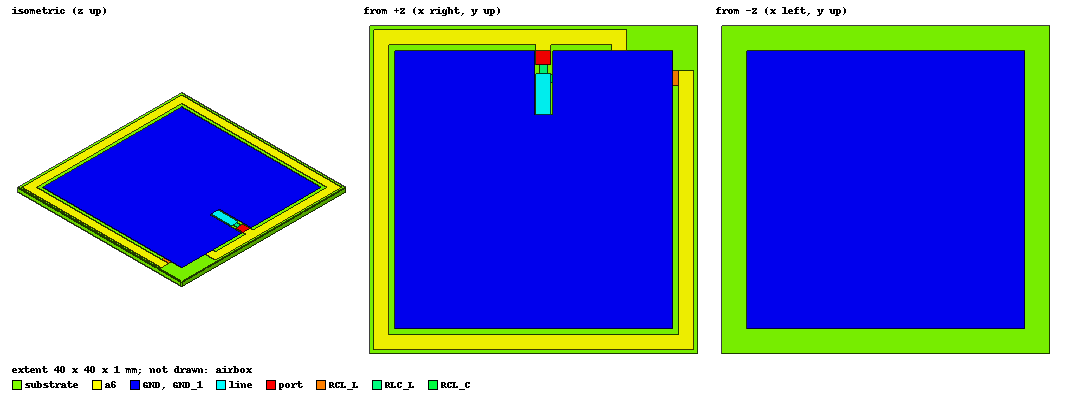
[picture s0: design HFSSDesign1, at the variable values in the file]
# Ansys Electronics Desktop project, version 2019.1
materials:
  vacuum: permittivity=1
  FR4_epoxy: permittivity=4.4 dielectric_loss_tangent=0.02
  copper: permeability=0.999991 conductivity=58000000
  air: permittivity=1.0006 permeability=1.0000004

design HFSSDesign1 (HFSS, DrivenTerminal, model units mm)
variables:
  sy = 40mm
  sx = 40mm
  l1 = 39mm
  w1 = 35.4mm
  l2 = 34mm
  l3 = 18mm
  l4 = 29mm
  w2 = 2.2mm
  w3 = 0.5mm
  l5 = 7.8mm
  len = 34mm
  w = 1.8mm
  lam = 200mm
  d = 3mm
  subh = 1mm
  l_line = 5mm
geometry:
  substrate [FR4_epoxy] = box(corner=(-l3-w-w3, d, 0mm), size=(sx, -sy, subh))
  GND = rectangle(corner=(-l3+d-w-w3, 0, subh), x_size=len, y_size=-len)
  GND_1 = GND.duplicate_along_line(step=(0mm, 0mm, -1mm), total=2)
  a1 = rectangle(corner=(0mm, 0mm, subh), x_size=w, y_size=d-w3-w)
  a3 = rectangle(corner=(-l3, d-w-w3, subh), x_size=l4, y_size=w)
  a2 = rectangle(corner=(l4-l3-w, 0mm, subh), x_size=w, y_size=d-w-w3)
  a4 = rectangle(corner=(-l3, d-w3, subh), x_size=-w, y_size=-l1)
  a5 = rectangle(corner=(-l3, -len-d+w3, subh), x_size=w1, y_size=w)
  a6 = rectangle(corner=(-l3+w1, -len-d+w3, subh), x_size=w, y_size=l2)
  RCL_L = rectangle(corner=(-l3+w1, l2-len-d+w3, subh), x_size=-d+w+w3, y_size=-w)
  a6.unite(a5, a4, a3, a2, a1)
  via [copper] = cylinder(axis=Z, base_centre=(-11mm, -3mm, 0mm), radius=0.5mm, height=subh)
  via_1 [copper] = via.duplicate_along_line(step=(9mm, 0mm, 0mm), total=2)
  via_2 [copper] = via.duplicate_along_line(step=(18mm, 0mm, 0mm), total=2)
  via_1_1 [copper] = via_1.duplicate_along_line(step=(18mm, 0mm, 0mm), total=2)
  via_3 [copper] = via.duplicate_along_line(step=(0mm, -7mm, 0mm), total=2)
  via_1_2 [copper] = via_1.duplicate_along_line(step=(0mm, -7mm, 0mm), total=2)
  via_2_1 [copper] = via_2.duplicate_along_line(step=(0mm, -7mm, 0mm), total=2)
  via_1_1_1 [copper] = via_1_1.duplicate_along_line(step=(0mm, -7mm, 0mm), total=2)
  via_4 [copper] = via.duplicate_along_line(step=(0mm, -16mm, 0mm), total=2)
  via_1_3 [copper] = via_1.duplicate_along_line(step=(0mm, -16mm, 0mm), total=2)
  via_2_2 [copper] = via_2.duplicate_along_line(step=(0mm, -16mm, 0mm), total=2)
  via_1_1_2 [copper] = via_1_1.duplicate_along_line(step=(0mm, -16mm, 0mm), total=2)
  via_3_1 [copper] = via_3.duplicate_along_line(step=(0mm, -16mm, 0mm), total=2)
  via_1_2_1 [copper] = via_1_2.duplicate_along_line(step=(0mm, -16mm, 0mm), total=2)
  via_2_1_1 [copper] = via_2_1.duplicate_along_line(step=(0mm, -16mm, 0mm), total=2)
  via_1_1_1_1 [copper] = via_1_1_1.duplicate_along_line(step=(0mm, -16mm, 0mm), total=2)
  Rectangle1 = rectangle(corner=(-w2/2+w/2, 0, subh), x_size=w2, y_size=-l5)
  GND.subtract(Rectangle1)
  port = rectangle(corner=(0mm, 0mm, subh), x_size=w, y_size=-w)
  airbox [air] = box(corner=(-lam-l3-w-w3, lam+d, -lam), size=(lam*2+sx, -lam*2-sy, lam*2+subh))
  line = rectangle(corner=(0mm, -1mm-w, subh), x_size=w, y_size=-l_line)
  RLC_L = rectangle(corner=(0.4mm, -1.8mm, subh), x_size=1mm, y_size=-1mm)
  RCL_C = rectangle(corner=(w, -3mm, subh), x_size=0.2mm, y_size=-1mm)
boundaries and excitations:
  FiniteCond1: Finite Conductivity Objects=[a6, GND, GND_1] UseMaterial Material=copper IsInternal
  LumpRLC1: Lumped RLC Objects=RCL_L CurrentLine{middle of RCL_L.edge(x at corner) -> middle of RCL_L.edge(x opposite corner)} Inductance=275nH
  Rad1: Radiation Objects=airbox
  FiniteCond2: Finite Conductivity Objects=line UseMaterial Material=copper IsInternal
  LumpRLC2: Lumped RLC Objects=RCL_C CurrentLine{middle of RCL_C.edge(x opposite corner) -> middle of RCL_C.edge(x at corner)} Capacitance=232.7pF
  LumpRLC3: Lumped RLC Objects=RLC_L CurrentLine{middle of RLC_L.edge(y opposite corner) -> middle of RLC_L.edge(y at corner)} Inductance=8.8nH
  a6_T1: Terminal port=1 Edges=a6.edge(1 of 4) TerminalResistance=50ohm
  1: Lumped Port Faces=port.face Impedance=50ohm
  reference conductors: line
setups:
  Setup1: HfssDriven Frequency=433MHz MaxDeltaS=0.02 MaximumPasses=8 MinimumPasses=1 MinimumConvergedPasses=1 PercentRefinement=30 BasisOrder=1 PortAccuracy=2
    sweep Sweep: 100MHz to 600MHz step 0.001GHz; Type=Interpolating InterpTolerance=0.5 InterpMaxSolns=250 PassivityErrorTolerance=0.0001
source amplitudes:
  1:1: 1V 0deg
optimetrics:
  ParametricSetup1: Parametric Sim._Setups=[Setup1]
    sweep l4: LIN 23mm 29mm 1mm
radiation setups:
  Infinite Sphere1: Infinite Sphere Theta=0deg..180deg step 2deg Phi=-180deg..180deg step 2deg
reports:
  Terminal S Parameter Plot 1: dB(St(a6_T1,a6_T1)) vs Freq on Setup1 : Sweep; markers m1 at 0.435GHz, m2 at 0.303GHz, m3 at 438MHz, m4 at 432MHz
  Terminal Z Parameter Plot 1: re(Zt(a6_T1,a6_T1)), im(Zt(a6_T1,a6_T1)) vs Freq on Setup1 : Sweep; markers m1 at 0.433GHz, m2 at 0.433GHz
  Gain Plot 1: dB(GainTotal) vs Phi, Theta on Setup1 : LastAdaptive, Infinite Sphere1 [Freq=0.433GHz]
